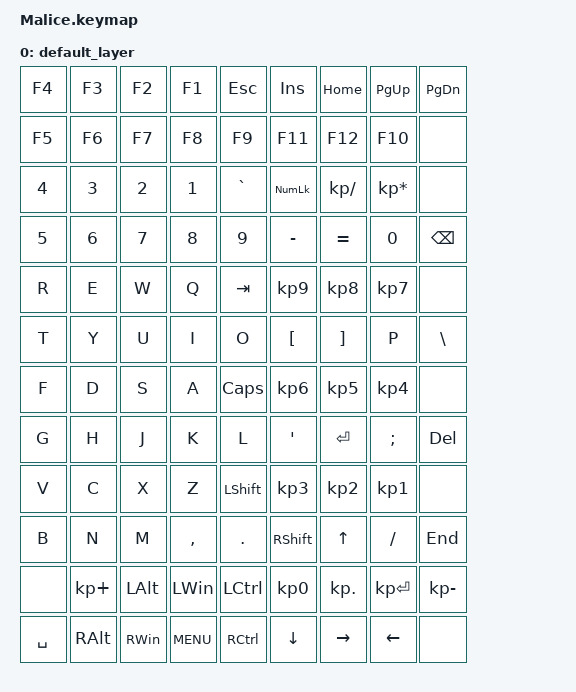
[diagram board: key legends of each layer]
#include <behaviors.dtsi>
#include <dt-bindings/zmk/keys.h>
#include <dt-bindings/zmk/bt.h>
#include <dt-bindings/zmk/outputs.h>

/ {
    keymap {
        compatible = "zmk,keymap";

        default_layer {
            bindings = <
                &kp F4	&kp F3	&kp F2	&kp F1	&kp ESC	&kp INS	&kp HOME	&kp PG_UP	&kp PG_DN
                &kp F5	&kp F6	&kp F7	&kp F8	&kp F9	&kp F11	&kp F12	&kp F10	&none
                &kp N4	&kp N3	&kp N2	&kp N1	&kp GRAVE	&kp KP_NLCK	&kp KP_SLASH	&kp KP_MULTIPLY	&none
                &kp N5	&kp N6	&kp N7	&kp N8	&kp N9	&kp MINUS	&kp EQUAL	&kp N0	&kp BSPC
                &kp R	&kp E	&kp W	&kp Q	&kp TAB	&kp KP_N9	&kp KP_N8	&kp KP_N7	&none
                &kp T	&kp Y	&kp U	&kp I	&kp O	&kp LEFT_BRACKET	&kp RIGHT_BRACKET	&kp P	&kp BSLH
                &kp F	&kp D	&kp S	&kp A	&kp CAPS	&kp KP_N6	&kp KP_N5	&kp KP_N4	&none
                &kp G	&kp H	&kp J	&kp K	&kp L	&kp APOS	&kp ENTER	&kp SEMI	&kp DEL
                &kp V	&kp C	&kp X	&kp Z	&kp LSHIFT	&kp KP_N3	&kp KP_N2	&kp KP_N1	&none
                &kp B	&kp N	&kp M	&kp COMMA	&kp PERIOD	&kp RSHIFT	&kp UP	&kp FSLH	&kp END
                &none	&kp KP_PLUS	&kp LALT	&kp LWIN	&kp LCTRL	&kp KP_N0	&kp KP_DOT	&kp KP_ENTER	&kp KP_MINUS
                &kp SPACE	&kp RALT	&kp RWIN	&kp C_MENU	&kp RCTRL	&kp DOWN	&kp RIGHT	&kp LEFT	&none
            >;
        };
    };
 };

